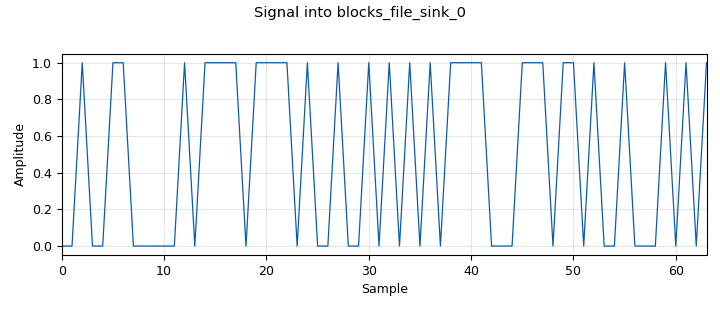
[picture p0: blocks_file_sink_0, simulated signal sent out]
options:
  parameters:
    generate_options: qt_gui
    id: CommandSignalStorer
    output_language: python
    title: Not titled yet
  states: {}

blocks:
- name: samp_rate
  id: variable
  parameters:
    value: '250000'
  states: {}
- name: blocks_file_sink_0
  id: blocks_file_sink
  parameters:
    file: D:\GNURADIO_THESIS_MASTER\CommandSignals\CommandSignal1
    type: byte
  states: {}
- name: blocks_head_0
  id: blocks_head
  parameters:
    num_items: 28*8*10
    type: byte
  states: {}
- name: blocks_throttle2_0
  id: blocks_throttle2
  parameters:
    samples_per_second: samp_rate
    type: byte
  states: {}
- name: blocks_unpack_k_bits_bb_1
  id: blocks_unpack_k_bits_bb
  parameters:
    k: '8'
  states: {}
- name: blocks_vector_source_x_0_0
  id: blocks_vector_source_x
  parameters:
    repeat: 'True'
    type: byte
    vector: (0x0B ,0xF1 ,0xC4 ,0x1A ,0x17 ,0x17 ,0x3E ,0x51 ,0x2C ,0x93 ,0x0F ,0xD0 ,0x2C ,0x43 ,0x84 ,0xB0 ,0xDF ,0x04 ,0x4A ,0x99 ,0x26 ,0x0B ,0xDE ,0x92 ,0xAB ,0xC7 ,0x69 ,0x15)
  states: {}

connections:
- [blocks_head_0, '0', blocks_file_sink_0, '0']
- [blocks_throttle2_0, '0', blocks_unpack_k_bits_bb_1, '0']
- [blocks_unpack_k_bits_bb_1, '0', blocks_head_0, '0']
- [blocks_vector_source_x_0_0, '0', blocks_throttle2_0, '0']

metadata:
  file_format: 1
  grc_version: 3.10.6.0
